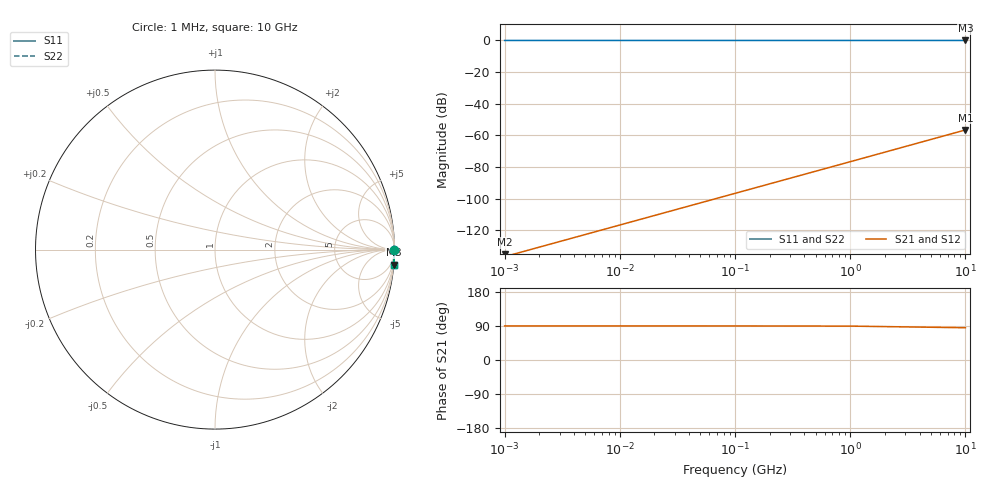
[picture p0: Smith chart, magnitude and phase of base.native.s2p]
! Sonnet Data File
! From: em Version : 18.53-Lite
! From Project: d_cdvy0.001
! Data is NOT De-embedded
! Data File Written: 10/12/2026 11:24:09
!< HDATE 10/12/2026 11:24:09
!< MDATE 10/12/2026 11:24:09
# GHZ S RI R 50.00000
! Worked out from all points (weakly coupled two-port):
!   5 points, 1 MHz to 10 GHz, reference 50 ohm
!   highest |S21| = -56.56 dB at 10 GHz (marker M1); lowest = -136.6 dB at 1 MHz (marker M2)
!   lowest |S11| = 0.0 dB at 10 GHz (marker M3)
!   |S11| at or under -10 dB: nowhere
!   |S22| runs from 0.0 to 0.0 dB; largest |S21 - S12| = 1.8e-12
0.001  1 -8.39e-06  1.85e-10 1.47e-07  1.84e-10 1.47e-07  1 -8.39e-06
0.01  1 -8.39e-05  1.96e-09 1.47e-06  1.96e-09 1.47e-06  1 -8.39e-05
0.1  1 -0.000839  3.07e-08 1.47e-05  3.07e-08 1.47e-05  1 -0.000839
1  1 -0.00839  1.42e-06 0.000147  1.42e-06 0.000147  1 -0.00839
10  0.9964 -0.084  0.000127 0.00148  0.000127 0.00148  0.9964 -0.084
